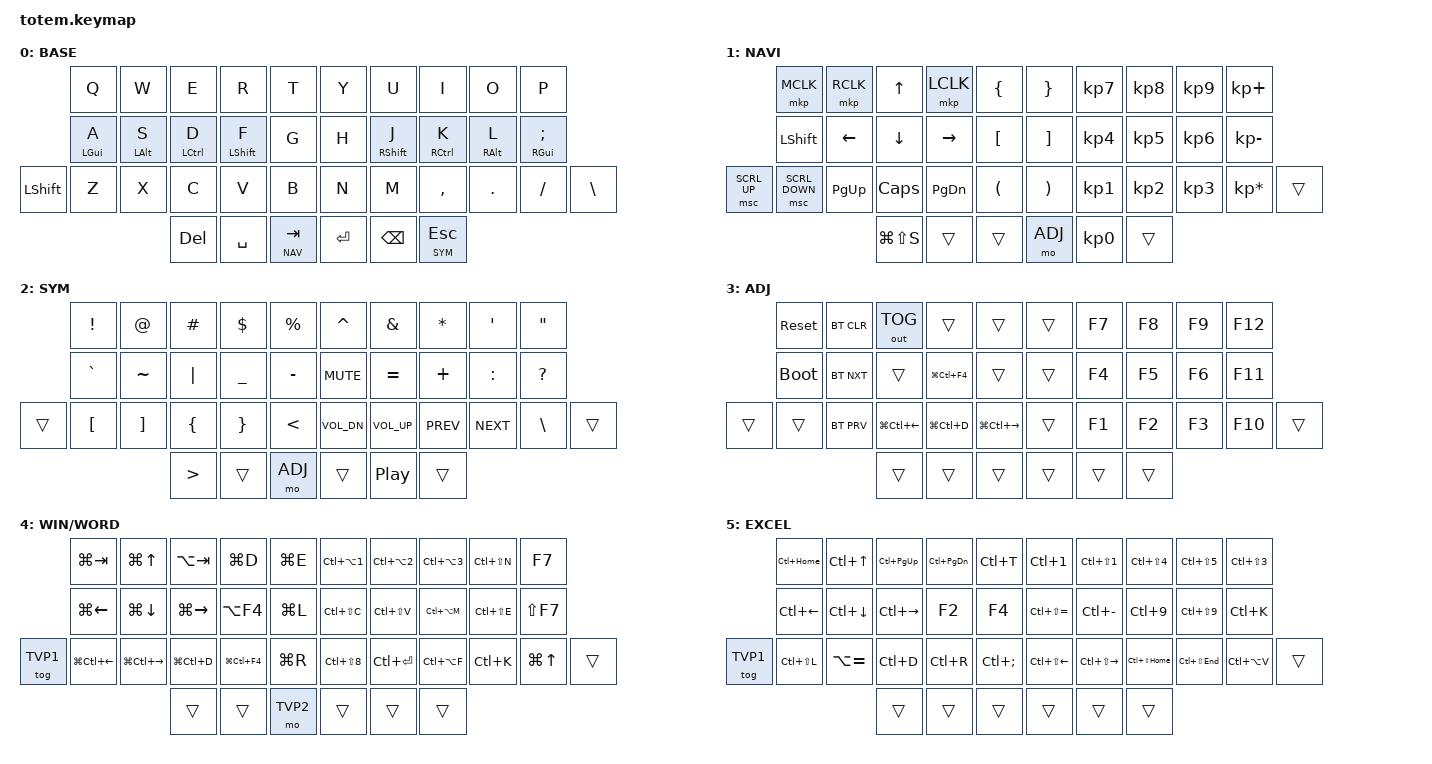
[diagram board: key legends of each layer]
//
//                                                        ▀▀▀▀▀     ▀▀▀▀▀          ▀▀█▀▀
//                                                        ▄▀▀▀▄  ▄  ▄▀▀▀▄  ▄  ▄▀▀▀▄  █  ▄▀▀▀▄
//                                                        █   █  █  █   █  █  █   █  █  █   █
//                                                         ▀▀▀   █   ▀▀▀   █   ▀▀▀   ▀   ▀▀▀
//                                                               █      ▄▄▄█▄▄▄    █   █  
//                                                               ▀      █  █  █     █▄█
//                                                             ▀▀▀▀▀    █  █  █      ▀
//                                                                      ▀  ▀  ▀
//
// ▄▄▄▄▄▄▄▄▄▄▄▄▄▄▄▄▄▄▄▄▄▄▄▄▄▄▄▄▄▄▄▄▄▄▄▄▄▄▄▄▄▄▄▄▄▄▄▄▄▄▄▄▄▄▄▄▄▄▄▄▄▄▄▄▄▄▄▄▄▄▄▄▄▄▄▄▄▄▄▄▄▄▄▄▄▄▄▄▄▄▄▄▄▄▄▄▄▄▄▄▄▄▄▄▄▄▄▄▄▄▄▄▄▄▄▄▄▄▄▄▄▄▄▄▄▄▄▄▄▄▄▄▄▄▄▄▄▄▄▄▄▄▄▄▄▄▄▄▄
       

#include <behaviors.dtsi>
#include <dt-bindings/zmk/keys.h>
#include <dt-bindings/zmk/bt.h>
#include <dt-bindings/zmk/outputs.h>
#include <dt-bindings/zmk/pointing.h>

#define BASE 0
#define NAV  1
#define SYM  2
#define ADJ  3
#define TVP1 4
#define TVP2 5

&mt {
  quick-tap-ms = <100>;
  global-quick-tap;
  flavor = "tap-preferred";
  tapping-term-ms = <250>;
};

/ {
     combos {
            compatible = "zmk,combos";
            combo_esc {
                timeout-ms = <50>;
                key-positions = <0 1>;
                bindings = <&kp ESC>;
            };
            combo_tvp {
                timeout-ms = <100>;
                key-positions = <11 12 13>;
                bindings = <&tog TVP1>;
            };
    };

    macros {
        gif: gif {
            label = "giphy";
            compatible = "zmk,behavior-macro";
            #binding-cells = <0>;
            bindings
                = <&macro_press &kp LSHFT>
                , <&macro_tap &kp N2>
                , <&macro_release &kp LSHFT>
                , <&macro_tap &kp G &kp I &kp F>
                ;
        };
    };

        keymap {
                compatible = "zmk,keymap";
// ▄▄▄▄▄▄▄▄▄▄▄▄▄▄▄▄▄▄▄▄▄▄▄▄▄▄▄▄▄▄▄▄▄▄▄▄▄▄▄▄▄▄▄▄▄▄▄▄▄▄▄▄▄▄▄▄▄▄▄▄▄▄▄▄▄▄▄▄▄▄▄▄▄▄▄▄▄▄▄▄▄▄▄▄▄▄▄▄▄▄▄▄▄▄▄▄▄▄▄▄▄▄▄▄▄▄▄▄▄▄▄▄▄▄▄▄▄▄▄▄▄▄▄▄▄▄▄▄▄▄▄▄▄▄▄▄▄▄▄▄▄▄▄▄▄▄▄▄▄

                base_layer {
// ┏━━━━━━━━━━━━━━━━━━━━━━━━━━━━━━━━━━━━━━━┓
label= "BASE"                              ;
// ┗━━━━━━━━━━━━━━━━━━━━━━━━━━━━━━━━━━━━━━━┛
//             ┏━━━━━━━━━━━┳━━━━━━━━━━━┳━━━━━━━━━━━┳━━━━━━━━━━━┳━━━━━━━━━━━┓   ┏━━━━━━━━━━━┳━━━━━━━━━━━┳━━━━━━━━━━━┳━━━━━━━━━━━┳━━━━━━━━━━━┓
//             ┃     Q     ┃     W     ┃     E     ┃     R     ┃     T     ┃   ┃     Y     ┃     U     ┃     I     ┃     O     ┃     P     ┃
//             ┣━━━━━━━━━━━╋━━━━━━━━━━━╋━━━━━━━━━━━╋━━━━━━━━━━━╋━━━━━━━━━━━┫   ┣━━━━━━━━━━━╋━━━━━━━━━━━╋━━━━━━━━━━━╋━━━━━━━━━━━╋━━━━━━━━━━━┫
//             ┃     A     ┃     S     ┃     D     ┃     F     ┃     G     ┃   ┃     H     ┃     J     ┃     K     ┃     L     ┃     ;     ┃
// ┏━━━━━━━━━━━╋━━━━━━━━━━━╋━━━━━━━━━━━╋━━━━━━━━━━━╋━━━━━━━━━━━╋━━━━━━━━━━━┫   ┣━━━━━━━━━━━╋━━━━━━━━━━━╋━━━━━━━━━━━╋━━━━━━━━━━━╋━━━━━━━━━━━╋━━━━━━━━━━━┓
// ┃   SHIFT   ┃     Z     ┃     X     ┃     C     ┃     V     ┃     B     ┃   ┃     N     ┃     M     ┃     ,     ┃     .     ┃     /     ┃     \     ┃
// ┗━━━━━━━━━━━┻━━━━━━━━━━━┻━━━━━━━━━━━╋━━━━━━━━━━━╋━━━━━━━━━━━╋━━━━━━━━━━━┫   ┣━━━━━━━━━━━╋━━━━━━━━━━━╋━━━━━━━━━━━╋━━━━━━━━━━━┻━━━━━━━━━━━┻━━━━━━━━━━━┛
//                                     ┃    DEL    ┃    SPC    ┃    TAB    ┃   ┃   ENTER   ┃   BSPC    ┃  sym/esc  ┃
//                                     ┗━━━━━━━━━━━┻━━━━━━━━━━━┻━━━━━━━━━━━┛   ┗━━━━━━━━━━━┻━━━━━━━━━━━┻━━━━━━━━━━━┛
 bindings = <
// ╷           ╷           ╷           ╷           ╷           ╷           ╷   ╷           ╷           ╷           ╷           ╷           ╷           ╷

                &kp Q       &kp W       &kp E       &kp R       &kp T           &kp Y       &kp U       &kp I       &kp O       &kp P
                &mt LGUI A  &mt LALT S  &mt LCTRL D &mt LSHFT F &kp G           &kp H       &mt RSHFT J &mt RCTRL K &mt RALT L  &mt RGUI SEMI
    &kp LSHFT       &kp Z       &kp X       &kp C       &kp V       &kp B           &kp N       &kp M       &kp COMMA   &kp DOT     &kp FSLH    &kp BSLH
                                        &kp DEL  &kp SPACE   &lt NAV TAB          &kp RET    &kp BSPC    &lt SYM ESC   
                        >;
                };

// ▄▄▄▄▄▄▄▄▄▄▄▄▄▄▄▄▄▄▄▄▄▄▄▄▄▄▄▄▄▄▄▄▄▄▄▄▄▄▄▄▄▄▄▄▄▄▄▄▄▄▄▄▄▄▄▄▄▄▄▄▄▄▄▄▄▄▄▄▄▄▄▄▄▄▄▄▄▄▄▄▄▄▄▄▄▄▄▄▄▄▄▄▄▄▄▄▄▄▄▄▄▄▄▄▄▄▄▄▄▄▄▄▄▄▄▄▄▄▄▄▄▄▄▄▄▄▄▄▄▄▄▄▄▄▄▄▄▄▄▄▄▄▄▄▄▄▄▄▄


                nav_layer {
// ┏━━━━━━━━━━━━━━━━━━━━━━━━━━━━━━━━━━━━━━━┓
label= "NAVI"                              ;
// ┗━━━━━━━━━━━━━━━━━━━━━━━━━━━━━━━━━━━━━━━┛
//             ┏━━━━━━━━━━━┳━━━━━━━━━━━┳━━━━━━━━━━━┳━━━━━━━━━━━┳━━━━━━━━━━━┓   ┏━━━━━━━━━━━┳━━━━━━━━━━━┳━━━━━━━━━━━┳━━━━━━━━━━━┳━━━━━━━━━━━┓
//             ┃    MCLk   ┃   RCLK    ┃     UP    ┃   LCLK    ┃     {     ┃   ┃     }     ┃     7     ┃     8     ┃     9     ┃     +     ┃
//             ┣━━━━━━━━━━━╋━━━━━━━━━━━╋━━━━━━━━━━━╋━━━━━━━━━━━╋━━━━━━━━━━━┫   ┣━━━━━━━━━━━╋━━━━━━━━━━━╋━━━━━━━━━━━╋━━━━━━━━━━━╋━━━━━━━━━━━┫
//             ┃   SHIFT   ┃   LEFT    ┃    DOWN   ┃   RIGHT   ┃     [     ┃   ┃     ]     ┃     4     ┃     5     ┃     6     ┃     -     ┃
// ┏━━━━━━━━━━━╋━━━━━━━━━━━╋━━━━━━━━━━━╋━━━━━━━━━━━╋━━━━━━━━━━━╋━━━━━━━━━━━┫   ┣━━━━━━━━━━━╋━━━━━━━━━━━╋━━━━━━━━━━━╋━━━━━━━━━━━╋━━━━━━━━━━━╋━━━━━━━━━━━┓
// ┃   SCRLUp  ┃  SCRLDN   ┃   P UP    ┃  C LOCK   ┃  P DOWN   ┃     (     ┃   ┃     )     ┃     1     ┃     2     ┃     3     ┃     *     ┃           ┃
// ┗━━━━━━━━━━━┻━━━━━━━━━━━┻━━━━━━━━━━━╋━━━━━━━━━━━╋━━━━━━━━━━━╋━━━━━━━━━━━┫   ┣━━━━━━━━━━━╋━━━━━━━━━━━╋━━━━━━━━━━━╋━━━━━━━━━━━┻━━━━━━━━━━━┻━━━━━━━━━━━┛
//                                     ┃   snip    ┃    TAB    ┃    SPC    ┃   ┃    DEL    ┃     0     ┃           ┃
//                                     ┗━━━━━━━━━━━┻━━━━━━━━━━━┻━━━━━━━━━━━┛   ┗━━━━━━━━━━━┻━━━━━━━━━━━┻━━━━━━━━━━━┛
 bindings = <
// ╷           ╷           ╷           ╷           ╷           ╷           ╷   ╷           ╷           ╷           ╷           ╷           ╷           ╷

                &mkp MCLK     &mkp RCLK  &kp UP      &mkp LCLK   &kp LBRC        &kp RBRC    &kp KP_N7   &kp KP_N8   &kp KP_N9   &kp KP_PLUS
                &kp LSHFT   &kp LEFT    &kp DOWN    &kp RIGHT   &kp LBKT        &kp RBKT    &kp KP_N4   &kp KP_N5   &kp KP_N6   &kp KP_MINUS
    &msc SCRL_UP   &msc SCRL_DOWN     &kp PG_UP   &kp CAPS    &kp PG_DN   &kp LPAR        &kp RPAR    &kp KP_N1   &kp KP_N2   &kp KP_N3   &kp KP_MULTIPLY &trans      
                                        &kp LG(LS(S))     &trans      &trans          &mo ADJ     &kp KP_N0   &trans      
                        >;
                };

// ▄▄▄▄▄▄▄▄▄▄▄▄▄▄▄▄▄▄▄▄▄▄▄▄▄▄▄▄▄▄▄▄▄▄▄▄▄▄▄▄▄▄▄▄▄▄▄▄▄▄▄▄▄▄▄▄▄▄▄▄▄▄▄▄▄▄▄▄▄▄▄▄▄▄▄▄▄▄▄▄▄▄▄▄▄▄▄▄▄▄▄▄▄▄▄▄▄▄▄▄▄▄▄▄▄▄▄▄▄▄▄▄▄▄▄▄▄▄▄▄▄▄▄▄▄▄▄▄▄▄▄▄▄▄▄▄▄▄▄▄▄▄▄▄▄▄▄▄▄


                sim_layer {
// ┏━━━━━━━━━━━━━━━━━━━━━━━━━━━━━━━━━━━━━━━┓
label= "SYM"                               ;
// ┗━━━━━━━━━━━━━━━━━━━━━━━━━━━━━━━━━━━━━━━┛
//             ┏━━━━━━━━━━━┳━━━━━━━━━━━┳━━━━━━━━━━━┳━━━━━━━━━━━┳━━━━━━━━━━━┓   ┏━━━━━━━━━━━┳━━━━━━━━━━━┳━━━━━━━━━━━┳━━━━━━━━━━━┳━━━━━━━━━━━┓
//             ┃     !     ┃     @     ┃     #     ┃     $     ┃     %     ┃   ┃     ^     ┃     &     ┃     *     ┃     '     ┃     "     ┃
//             ┣━━━━━━━━━━━╋━━━━━━━━━━━╋━━━━━━━━━━━╋━━━━━━━━━━━╋━━━━━━━━━━━┫   ┣━━━━━━━━━━━╋━━━━━━━━━━━╋━━━━━━━━━━━╋━━━━━━━━━━━╋━━━━━━━━━━━┫
//             ┃     `     ┃     ~     ┃     |     ┃     _     ┃     -     ┃   ┃    MUTE   ┃     =     ┃     +     ┃     :     ┃     ?     ┃
// ┏━━━━━━━━━━━╋━━━━━━━━━━━╋━━━━━━━━━━━╋━━━━━━━━━━━╋━━━━━━━━━━━╋━━━━━━━━━━━┫   ┣━━━━━━━━━━━╋━━━━━━━━━━━╋━━━━━━━━━━━╋━━━━━━━━━━━╋━━━━━━━━━━━╋━━━━━━━━━━━┓
// ┃           ┃     [     ┃     ]     ┃     {     ┃     }     ┃     <     ┃   ┃    VOL-   ┃    VOL+   ┃    LAST   ┃    NEXT   ┃     \     ┃           ┃
// ┗━━━━━━━━━━━┻━━━━━━━━━━━┻━━━━━━━━━━━╋━━━━━━━━━━━╋━━━━━━━━━━━╋━━━━━━━━━━━┫   ┣━━━━━━━━━━━╋━━━━━━━━━━━╋━━━━━━━━━━━┻━━━━━━━━━━━┻━━━━━━━━━━━┛━━━━━━━━━━━
//                                     ┃     >     ┃           ┃    ADJ    ┃   ┃           ┃    PLAY   ┃           ┃
//                                     ┗━━━━━━━━━━━┻━━━━━━━━━━━┻━━━━━━━━━━━┛   ┗━━━━━━━━━━━┻━━━━━━━━━━━┻━━━━━━━━━━━┛
 bindings = <
// ╷           ╷           ╷           ╷           ╷           ╷           ╷   ╷           ╷           ╷           ╷           ╷           ╷           ╷

                &kp EXCL    &kp AT      &kp HASH    &kp DLLR    &kp PRCNT       &kp CARET   &kp AMPS    &kp ASTRK   &kp SQT     &kp DQT       
                &kp GRAVE   &kp TILDE   &kp PIPE    &kp UNDER   &kp MINUS       &kp C_MUTE  &kp EQUAL   &kp PLUS    &kp COLON   &kp QMARK 
    &trans      &kp LBKT    &kp RBKT    &kp LBRC    &kp RBRC    &kp LT          &kp C_VOL_DN &kp C_VOL_UP &kp C_PREV &kp C_NEXT  &kp BSLH   &trans         
                                        &kp GT      &trans      &mo ADJ         &trans      &kp C_PP    &trans      
                        >;
                };

// ▄▄▄▄▄▄▄▄▄▄▄▄▄▄▄▄▄▄▄▄▄▄▄▄▄▄▄▄▄▄▄▄▄▄▄▄▄▄▄▄▄▄▄▄▄▄▄▄▄▄▄▄▄▄▄▄▄▄▄▄▄▄▄▄▄▄▄▄▄▄▄▄▄▄▄▄▄▄▄▄▄▄▄▄▄▄▄▄▄▄▄▄▄▄▄▄▄▄▄▄▄▄▄▄▄▄▄▄▄▄▄▄▄▄▄▄▄▄▄▄▄▄▄▄▄▄▄▄▄▄▄▄▄▄▄▄▄▄▄▄▄▄▄▄▄▄▄▄▄


                                adjust_layer {
// ┏━━━━━━━━━━━━━━━━━━━━━━━━━━━━━━━━━━━━━━━┓
label= "ADJ"                               ;
// ┗━━━━━━━━━━━━━━━━━━━━━━━━━━━━━━━━━━━━━━━┛
//             ┏━━━━━━━━━━━┳━━━━━━━━━━━┳━━━━━━━━━━━┳━━━━━━━━━━━┳━━━━━━━━━━━┓   ┏━━━━━━━━━━━┳━━━━━━━━━━━┳━━━━━━━━━━━┳━━━━━━━━━━━┳━━━━━━━━━━━┓
//             ┃   RESET   ┃  BT CLEAR ┃  OUT TOG  ┃           ┃           ┃   ┃           ┃     F7    ┃     F8    ┃     F9    ┃    F12    ┃
//             ┣━━━━━━━━━━━╋━━━━━━━━━━━╋━━━━━━━━━━━╋━━━━━━━━━━━╋━━━━━━━━━━━┫   ┣━━━━━━━━━━━╋━━━━━━━━━━━╋━━━━━━━━━━━╋━━━━━━━━━━━╋━━━━━━━━━━━┫
//             ┃  BOOTLOAD ┃  BT NEXT  ┃           ┃  DEL DESK ┃           ┃   ┃           ┃     F4    ┃     F5    ┃     F6    ┃    F11    ┃
// ┏━━━━━━━━━━━╋━━━━━━━━━━━╋━━━━━━━━━━━╋━━━━━━━━━━━╋━━━━━━━━━━━╋━━━━━━━━━━━┫   ┣━━━━━━━━━━━╋━━━━━━━━━━━╋━━━━━━━━━━━╋━━━━━━━━━━━╋━━━━━━━━━━━╋━━━━━━━━━━━┓
// ┃           ┃           ┃  BT PREV  ┃  DESK LFT ┃  NEW DESK ┃  DESK RGT ┃   ┃           ┃     F1    ┃     F2    ┃     F3    ┃    F10    ┃           ┃
// ┗━━━━━━━━━━━┻━━━━━━━━━━━┻━━━━━━━━━━━╋━━━━━━━━━━━╋━━━━━━━━━━━╋━━━━━━━━━━━┫   ┣━━━━━━━━━━━╋━━━━━━━━━━━╋━━━━━━━━━━━┻━━━━━━━━━━━┻━━━━━━━━━━━┛━━━━━━━━━━━┛
//                                     ┃           ┃           ┃           ┃   ┃           ┃           ┃           ┃
//                                     ┗━━━━━━━━━━━┻━━━━━━━━━━━┻━━━━━━━━━━━┛   ┗━━━━━━━━━━━┻━━━━━━━━━━━┻━━━━━━━━━━━┛
 bindings = <
// ╷           ╷           ╷           ╷           ╷           ╷           ╷   ╷           ╷           ╷           ╷           ╷           ╷           ╷

                &sys_reset  &bt BT_CLR &out OUT_TOG &trans      &trans          &trans      &kp F7      &kp F8      &kp F9      &kp F12
                &bootloader &bt BT_NXT  &trans   &kp LG(LC(F4)) &trans          &trans      &kp F4      &kp F5      &kp F6      &kp F11  
    &trans      &trans      &bt BT_PRV  &kp LG(LC(LEFT)) &kp LG(LC(D)) &kp LG(LC(RIGHT))   &trans      &kp F1      &kp F2      &kp F3      &kp F10     &trans         
                                        &trans      &trans      &trans          &trans      &trans      &trans      
                        >;
                };

// ▄▄▄▄▄▄▄▄▄▄▄▄▄▄▄▄▄▄▄▄▄▄▄▄▄▄▄▄▄▄▄▄▄▄▄▄▄▄▄▄▄▄▄▄▄▄▄▄▄▄▄▄▄▄▄▄▄▄▄▄▄▄▄▄▄▄▄▄▄▄▄▄▄▄▄▄▄▄▄▄▄▄▄▄▄▄▄▄▄▄▄▄▄▄▄▄▄▄▄▄▄▄▄▄▄▄▄▄▄▄▄▄▄▄▄▄▄▄▄▄▄▄▄▄▄▄▄▄▄▄▄▄▄▄▄▄▄▄▄▄▄▄▄▄▄▄▄▄▄


                               tvp1_layer {
// ┏━━━━━━━━━━━━━━━━━━━━━━━━━━━━━━━━━━━━━━━┓
label= "WIN/WORD"                          ;
// ┗━━━━━━━━━━━━━━━━━━━━━━━━━━━━━━━━━━━━━━━┛
//             ┏━━━━━━━━━━━┳━━━━━━━━━━━┳━━━━━━━━━━━┳━━━━━━━━━━━┳━━━━━━━━━━━┓   ┏━━━━━━━━━━━┳━━━━━━━━━━━┳━━━━━━━━━━━┳━━━━━━━━━━━┳━━━━━━━━━━━┓
//             ┃  TASKVIEW ┃   WIN UP  ┃  ALT+TAB  ┃  SHOW DSK ┃  EXPLORER ┃   ┃   HEAD 1  ┃   HEAD 2  ┃   HEAD 3  ┃   NORMAL  ┃   SPELL   ┃
//             ┣━━━━━━━━━━━╋━━━━━━━━━━━╋━━━━━━━━━━━╋━━━━━━━━━━━╋━━━━━━━━━━━┫   ┣━━━━━━━━━━━╋━━━━━━━━━━━╋━━━━━━━━━━━╋━━━━━━━━━━━╋━━━━━━━━━━━┫
//             ┃  WIN LEFT ┃  WIN DOWN ┃  WIN RGHT ┃   CLOSE   ┃    LOCK   ┃   ┃  FMT COPY ┃  FMT PSTE ┃  COMMENT  ┃  TRACK CH ┃  THESAUR  ┃
// ┏━━━━━━━━━━━╋━━━━━━━━━━━╋━━━━━━━━━━━╋━━━━━━━━━━━╋━━━━━━━━━━━╋━━━━━━━━━━━┫   ┣━━━━━━━━━━━╋━━━━━━━━━━━╋━━━━━━━━━━━╋━━━━━━━━━━━╋━━━━━━━━━━━╋━━━━━━━━━━━┓
// ┃    EXIT   ┃  DESK LFT ┃  DESK RGT ┃  NEW DESK ┃  DEL DESK ┃    RUN    ┃   ┃   MARKS   ┃  PG BREAK ┃  FOOTNOTE ┃  HYPERLNK ┃  MAXIMIZE ┃           ┃
// ┗━━━━━━━━━━━┻━━━━━━━━━━━┻━━━━━━━━━━━╋━━━━━━━━━━━╋━━━━━━━━━━━╋━━━━━━━━━━━┫   ┣━━━━━━━━━━━╋━━━━━━━━━━━╋━━━━━━━━━━━┻━━━━━━━━━━━┻━━━━━━━━━━━┗━━━━━━━━━━━┛
//                                     ┃           ┃           ┃   EXCEL   ┃   ┃           ┃           ┃           ┃
//                                     ┗━━━━━━━━━━━┻━━━━━━━━━━━┻━━━━━━━━━━━┛   ┗━━━━━━━━━━━┻━━━━━━━━━━━┻━━━━━━━━━━━┛
 bindings = <
// ╷           ╷           ╷           ╷           ╷           ╷           ╷   ╷           ╷           ╷           ╷           ╷           ╷           ╷

                &kp LG(TAB) &kp LG(UP)  &kp LA(TAB) &kp LG(D)   &kp LG(E)       &kp LC(LA(N1)) &kp LC(LA(N2)) &kp LC(LA(N3)) &kp LC(LS(N)) &kp F7
                &kp LG(LEFT) &kp LG(DOWN) &kp LG(RIGHT) &kp LA(F4) &kp LG(L)    &kp LC(LS(C)) &kp LC(LS(V)) &kp LC(LA(M)) &kp LC(LS(E)) &kp LS(F7)
    &tog TVP1   &kp LG(LC(LEFT)) &kp LG(LC(RIGHT)) &kp LG(LC(D)) &kp LG(LC(F4)) &kp LG(R)  &kp LC(LS(N8)) &kp LC(RET) &kp LC(LA(F)) &kp LC(K) &kp LG(UP) &trans
                                        &trans      &trans      &mo TVP2        &trans      &trans      &trans
                        >;
                };

// ▄▄▄▄▄▄▄▄▄▄▄▄▄▄▄▄▄▄▄▄▄▄▄▄▄▄▄▄▄▄▄▄▄▄▄▄▄▄▄▄▄▄▄▄▄▄▄▄▄▄▄▄▄▄▄▄▄▄▄▄▄▄▄▄▄▄▄▄▄▄▄▄▄▄▄▄▄▄▄▄▄▄▄▄▄▄▄▄▄▄▄▄▄▄▄▄▄▄▄▄▄▄▄▄▄▄▄▄▄▄▄▄▄▄▄▄▄▄▄▄▄▄▄▄▄▄▄▄▄▄▄▄▄▄▄▄▄▄▄▄▄▄▄▄▄▄▄▄▄


                                tvp2_layer {
// ┏━━━━━━━━━━━━━━━━━━━━━━━━━━━━━━━━━━━━━━━┓
label= "EXCEL"                             ;
// ┗━━━━━━━━━━━━━━━━━━━━━━━━━━━━━━━━━━━━━━━┛
//             ┏━━━━━━━━━━━┳━━━━━━━━━━━┳━━━━━━━━━━━┳━━━━━━━━━━━┳━━━━━━━━━━━┓   ┏━━━━━━━━━━━┳━━━━━━━━━━━┳━━━━━━━━━━━┳━━━━━━━━━━━┳━━━━━━━━━━━┓
//             ┃ CTRL HOME ┃  CTRL UP  ┃  PREV SHT ┃  NEXT SHT ┃   TABLE   ┃   ┃ FMT CELLS ┃  NUM FMT  ┃  CURRENCY ┃  PERCENT  ┃  DATE FMT ┃
//             ┣━━━━━━━━━━━╋━━━━━━━━━━━╋━━━━━━━━━━━╋━━━━━━━━━━━╋━━━━━━━━━━━┫   ┣━━━━━━━━━━━╋━━━━━━━━━━━╋━━━━━━━━━━━╋━━━━━━━━━━━╋━━━━━━━━━━━┫
//             ┃ CTRL LEFT ┃ CTRL DOWN ┃ CTRL RGHT ┃  EDIT F2  ┃   ABS F4  ┃   ┃  INS CELL ┃  DEL CELL ┃  HIDE ROW ┃   UNHIDE  ┃  HYPERLNK ┃
// ┏━━━━━━━━━━━╋━━━━━━━━━━━╋━━━━━━━━━━━╋━━━━━━━━━━━╋━━━━━━━━━━━╋━━━━━━━━━━━┫   ┣━━━━━━━━━━━╋━━━━━━━━━━━╋━━━━━━━━━━━╋━━━━━━━━━━━╋━━━━━━━━━━━╋━━━━━━━━━━━┓
// ┃    EXIT   ┃   FILTER  ┃  AUTOSUM  ┃  FILL DN  ┃  FILL RGT ┃   TODAY   ┃   ┃  SEL LEFT ┃  SEL RGHT ┃  SEL HOME ┃  SEL END  ┃  PASTE SP ┃           ┃
// ┗━━━━━━━━━━━┻━━━━━━━━━━━┻━━━━━━━━━━━╋━━━━━━━━━━━╋━━━━━━━━━━━╋━━━━━━━━━━━┫   ┣━━━━━━━━━━━╋━━━━━━━━━━━╋━━━━━━━━━━━┻━━━━━━━━━━━┻━━━━━━━━━━━┗━━━━━━━━━━━┛
//                                     ┃           ┃           ┃           ┃   ┃           ┃           ┃           ┃
//                                     ┗━━━━━━━━━━━┻━━━━━━━━━━━┻━━━━━━━━━━━┛   ┗━━━━━━━━━━━┻━━━━━━━━━━━┻━━━━━━━━━━━┛
 bindings = <
// ╷           ╷           ╷           ╷           ╷           ╷           ╷   ╷           ╷           ╷           ╷           ╷           ╷           ╷

                &kp LC(HOME) &kp LC(UP) &kp LC(PG_UP) &kp LC(PG_DN) &kp LC(T)   &kp LC(N1)  &kp LC(LS(N1)) &kp LC(LS(N4)) &kp LC(LS(N5)) &kp LC(LS(N3))
                &kp LC(LEFT) &kp LC(DOWN) &kp LC(RIGHT) &kp F2    &kp F4        &kp LC(LS(EQUAL)) &kp LC(MINUS) &kp LC(N9) &kp LC(LS(N9)) &kp LC(K)
    &tog TVP1   &kp LC(LS(L)) &kp LA(EQUAL) &kp LC(D) &kp LC(R)   &kp LC(SEMI)  &kp LC(LS(LEFT)) &kp LC(LS(RIGHT)) &kp LC(LS(HOME)) &kp LC(LS(END)) &kp LC(LA(V)) &trans
                                        &trans      &trans      &trans          &trans      &trans      &trans
                        >;
                };
        };
};
